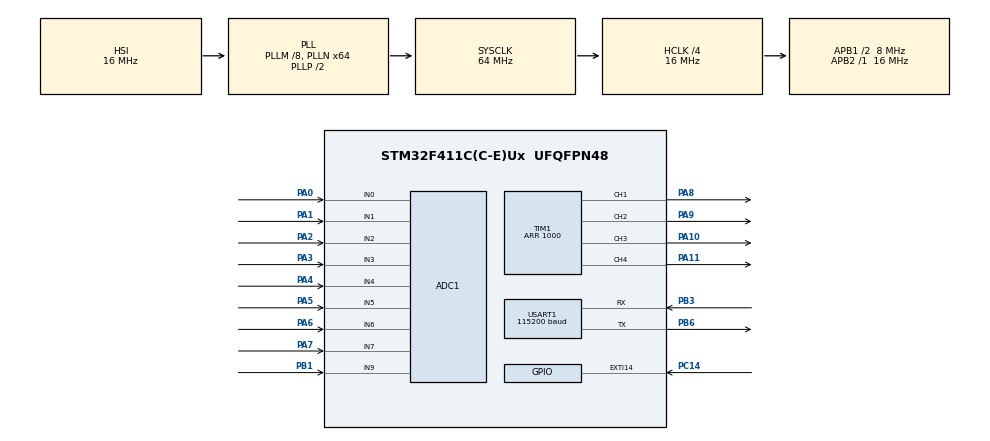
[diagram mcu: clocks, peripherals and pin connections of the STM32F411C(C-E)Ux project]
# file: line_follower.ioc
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ADC1.Channel-0\#ChannelRegularConversion=ADC_CHANNEL_0
ADC1.Channel-1\#ChannelRegularConversion=ADC_CHANNEL_1
ADC1.Channel-2\#ChannelRegularConversion=ADC_CHANNEL_2
ADC1.Channel-3\#ChannelRegularConversion=ADC_CHANNEL_3
ADC1.Channel-4\#ChannelRegularConversion=ADC_CHANNEL_4
ADC1.Channel-5\#ChannelRegularConversion=ADC_CHANNEL_5
ADC1.Channel-6\#ChannelRegularConversion=ADC_CHANNEL_6
ADC1.Channel-7\#ChannelRegularConversion=ADC_CHANNEL_7
ADC1.Channel-8\#ChannelRegularConversion=ADC_CHANNEL_9
ADC1.ContinuousConvMode=ENABLE
ADC1.DMAContinuousRequests=ENABLE
ADC1.NbrOfConversion=9
ADC1.NbrOfConversionFlag=1
ADC1.Rank-0\#ChannelRegularConversion=1
ADC1.Rank-1\#ChannelRegularConversion=2
ADC1.Rank-2\#ChannelRegularConversion=3
ADC1.Rank-3\#ChannelRegularConversion=4
ADC1.Rank-4\#ChannelRegularConversion=5
ADC1.Rank-5\#ChannelRegularConversion=6
ADC1.Rank-6\#ChannelRegularConversion=7
ADC1.Rank-7\#ChannelRegularConversion=8
ADC1.Rank-8\#ChannelRegularConversion=9
ADC1.SamplingTime-0\#ChannelRegularConversion=ADC_SAMPLETIME_144CYCLES
ADC1.SamplingTime-1\#ChannelRegularConversion=ADC_SAMPLETIME_144CYCLES
ADC1.SamplingTime-2\#ChannelRegularConversion=ADC_SAMPLETIME_144CYCLES
ADC1.SamplingTime-3\#ChannelRegularConversion=ADC_SAMPLETIME_144CYCLES
ADC1.SamplingTime-4\#ChannelRegularConversion=ADC_SAMPLETIME_144CYCLES
ADC1.SamplingTime-5\#ChannelRegularConversion=ADC_SAMPLETIME_144CYCLES
ADC1.SamplingTime-6\#ChannelRegularConversion=ADC_SAMPLETIME_144CYCLES
ADC1.SamplingTime-7\#ChannelRegularConversion=ADC_SAMPLETIME_144CYCLES
ADC1.SamplingTime-8\#ChannelRegularConversion=ADC_SAMPLETIME_144CYCLES
ADC1.ScanConvMode=ENABLE
ADC1.master=1
Dma.ADC1.0.Direction=DMA_PERIPH_TO_MEMORY
Dma.ADC1.0.FIFOMode=DMA_FIFOMODE_DISABLE
Dma.ADC1.0.Instance=DMA2_Stream0
Dma.ADC1.0.MemDataAlignment=DMA_MDATAALIGN_HALFWORD
Dma.ADC1.0.MemInc=DMA_MINC_ENABLE
Dma.ADC1.0.Mode=DMA_CIRCULAR
Dma.ADC1.0.PeriphDataAlignment=DMA_PDATAALIGN_HALFWORD
Dma.ADC1.0.PeriphInc=DMA_PINC_DISABLE
Dma.ADC1.0.Priority=DMA_PRIORITY_LOW
Dma.Request0=ADC1
Mcu.Family=STM32F4
Mcu.Name=STM32F411C(C-E)Ux
Mcu.Package=UFQFPN48
NVIC.DMA2_Stream0_IRQn=true\:0\:0\:false\:false\:true\:false\:true\:true
NVIC.EXTI15_10_IRQn=true\:0\:0\:false\:false\:true\:true\:true\:true
NVIC.PriorityGroup=NVIC_PRIORITYGROUP_4
NVIC.USART1_IRQn=true\:0\:0\:false\:false\:true\:true\:true\:true
PA0-WKUP.Signal=ADCx_IN0
PA1.Signal=ADCx_IN1
PA10.Signal=S_TIM1_CH3
PA11.Signal=S_TIM1_CH4
PA2.Signal=ADCx_IN2
PA3.Signal=ADCx_IN3
PA4.Signal=ADCx_IN4
PA5.Signal=ADCx_IN5
PA6.Signal=ADCx_IN6
PA7.Signal=ADCx_IN7
PA8.Signal=S_TIM1_CH1
PA9.Signal=S_TIM1_CH2
PB1.Signal=ADCx_IN9
PB3.Mode=Asynchronous
PB3.Signal=USART1_RX
PB6.Mode=Asynchronous
PB6.Signal=USART1_TX
PC14-OSC32_IN.GPIO_ModeDefaultEXTI=GPIO_MODE_IT_FALLING
PC14-OSC32_IN.GPIO_PuPd=GPIO_PULLUP
PC14-OSC32_IN.Signal=GPXTI14
ProjectManager.HeapSize=0x200
ProjectManager.StackSize=0x400
ProjectManager.TargetToolchain=STM32CubeIDE
RCC.48MHZClocksFreq_Value=32000000
RCC.AHBCLKDivider=RCC_SYSCLK_DIV4
RCC.AHBFreq_Value=16000000
RCC.APB1CLKDivider=RCC_HCLK_DIV2
RCC.APB1Freq_Value=8000000
RCC.APB1TimFreq_Value=16000000
RCC.APB2Freq_Value=16000000
RCC.APB2TimFreq_Value=16000000
RCC.CortexFreq_Value=16000000
RCC.HCLKFreq_Value=16000000
RCC.HSE_VALUE=25000000
RCC.HSI_VALUE=16000000
RCC.LSE_VALUE=32768
RCC.PLLM=8
RCC.PLLN=64
RCC.SYSCLKFreq_VALUE=64000000
RCC.SYSCLKSource=RCC_SYSCLKSOURCE_PLLCLK
RCC.VCOOutputFreq_Value=128000000
SH.ADCx_IN0.0=ADC1_IN0,IN0
SH.ADCx_IN1.0=ADC1_IN1,IN1
SH.ADCx_IN2.0=ADC1_IN2,IN2
SH.ADCx_IN3.0=ADC1_IN3,IN3
SH.ADCx_IN4.0=ADC1_IN4,IN4
SH.ADCx_IN5.0=ADC1_IN5,IN5
SH.ADCx_IN6.0=ADC1_IN6,IN6
SH.ADCx_IN7.0=ADC1_IN7,IN7
SH.ADCx_IN9.0=ADC1_IN9,IN9
SH.S_TIM1_CH1.0=TIM1_CH1,PWM Generation1 CH1
SH.S_TIM1_CH2.0=TIM1_CH2,PWM Generation2 CH2
SH.S_TIM1_CH3.0=TIM1_CH3,PWM Generation3 CH3
SH.S_TIM1_CH4.0=TIM1_CH4,PWM Generation4 CH4
TIM1.Channel-PWM\ Generation1\ CH1=TIM_CHANNEL_1
TIM1.Channel-PWM\ Generation2\ CH2=TIM_CHANNEL_2
TIM1.Channel-PWM\ Generation3\ CH3=TIM_CHANNEL_3
TIM1.Channel-PWM\ Generation4\ CH4=TIM_CHANNEL_4
TIM1.OCMode_PWM-PWM\ Generation2\ CH2=TIM_OCMODE_PWM2
TIM1.OCMode_PWM-PWM\ Generation3\ CH3=TIM_OCMODE_PWM2
TIM1.OCMode_PWM-PWM\ Generation4\ CH4=TIM_OCMODE_PWM1
TIM1.Period=1000
USART1.BaudRate=115200
USART1.VirtualMode=VM_ASYNC
VP_ADC1_Vbat_Input.Mode=IN-Vbat
board=custom

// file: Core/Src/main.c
/* USER CODE BEGIN Header */
/**
 ******************************************************************************
 * @file           : main.c
 * @brief          : Main program body
 ******************************************************************************
 * @attention
 *
 * Copyright (c) 2026 STMicroelectronics.
 * All rights reserved.
 *
 * This software is licensed under terms that can be found in the LICENSE file
 * in the root directory of this software component.
 * If no LICENSE file comes with this software, it is provided AS-IS.
 *
 ******************************************************************************
 */
/* USER CODE END Header */
#include "main.h"

/* USER CODE BEGIN Includes */

#include "sensor_module.h"
#include "utils.h"
#include "bluetooth.h"
#include "motor.h"
#include <stdio.h>
#include <string.h>
#include "stdlib.h"

/* USER CODE END Includes */

ADC_HandleTypeDef hadc1;
DMA_HandleTypeDef hdma_adc1;

TIM_HandleTypeDef htim1;

UART_HandleTypeDef huart1;

/* USER CODE BEGIN PV */

Sensor sensors[NUM_SENSORS];
Sensor_Array sensor_array;
PID_Controller pid;

/* USER CODE END PV */

void SystemClock_Config(void);
static void MX_GPIO_Init(void);
static void MX_DMA_Init(void);
static void MX_ADC1_Init(void);
static void MX_TIM1_Init(void);
static void MX_USART1_UART_Init(void);

/* USER CODE BEGIN 0 */

int sensor_weights[NUM_SENSORS] = { 0, -3, -2, -1,1, 2, 3, 0 };

volatile int line;
volatile int line2;
volatile int correction;
volatile int left_speed;
volatile int right_speed;
int left;
int right;
int start = 0;
volatile float dt ;

uint8_t rx_data;
char rx_buffer[30];
int rx_index = 0;
float b ;
JunctionType j;

volatile uint8_t junction_handling_enabled = 1;

#define CURVE_ENTRY_THRESHOLD  600.0f
#define CURVE_EXIT_THRESHOLD   300.0f
#define CURVE_KP_SCALE          1.5f
#define CURVE_KD_SCALE          1.8f
#define CURVE_SPEED_SCALE       0.60f
#define SystemCoreClock 16000000.0f

static uint8_t in_curve = 0;
static uint8_t junction_confirm_count = 0;
static JunctionType junction_candidate = NO_JUNCTION;
#define JUNCTION_CONFIRM_THRESHOLD 3

void HAL_GPIO_EXTI_Callback(uint16_t GPIO_Pin)
{

    if (GPIO_Pin == GPIO_PIN_14)
    {
    	if(start == 1){
    		start = 0;
    	}
    	else if (start == 0){
    	start = 1;
    	}

    }
}

void HAL_UART_RxCpltCallback(UART_HandleTypeDef *huart) {
	if (huart->Instance == USART1) {
		if (rx_data == '\n' || rx_data == '\r') {

			rx_buffer[rx_index] = '\0';
			rx_index = 0;

			char *cmd = rx_buffer;

			if (strncmp(cmd, "PID:", 4) == 0) {
				float p, i, d;
				if (sscanf(cmd + 4, "%f,%f,%f", &p, &i, &d) == 3) {
					pid.Kp = p;
					pid.Ki = i;
					pid.Kd = d;
					pid.integral = 0;
					pid.last_error = 0;
					pid.d_filtered = 0;
				}
			}

			else if (strncmp(cmd, "PARAM:", 6) == 0) {
			    char *bs = strstr(cmd, "BS");
			    char *pl = strstr(cmd, "PL");
			    char *jh = strstr(cmd, "JH");
			    if (bs) sensor_array.base_speed = atoi(bs + 2);
			    if (pl) pid.limit = atoi(pl + 2);
			    if (jh) junction_handling_enabled = atoi(jh + 2);
			}

			else if (strcmp(cmd, "START") == 0) {
				start = 1;
				in_curve = 0;        // always start fresh in straight mode
				pid.integral = 0;
				pid.last_error = 0;
				pid.d_filtered = 0;

			} else if (strcmp(cmd, "STOP") == 0) {
				start = 0;
				in_curve = 0;        // clear so next start is clean
				pid.integral = 0;
			}

			else if (strlen(cmd) > 1) {
				char type = cmd[0];
				float val = atof(&cmd[1]);
				if (type == 'P')
					pid.Kp = val;
				else if (type == 'I')
					pid.Ki = val;
				else if (type == 'D')
					pid.Kd = val;
				else if (type == 'B')
					sensor_array.base_speed = (int) val;
				else if (type == 'X')
					start = 0;
				else if (type == 'O')
					start = 1;
			}

		} else {
			if (rx_index < sizeof(rx_buffer) - 1){
			rx_buffer[rx_index++] = rx_data;}
		}

		HAL_UART_Receive_IT(&huart1, &rx_data, 1);
	}
}

void Send_Telemetry() {
    static char buf[160];
    char ir_part[80] = "IR:";
    char tmp[8];

    for (int i = 0; i < sensor_array.number_of_sensors; i++) {
        snprintf(tmp, sizeof(tmp), "%u", (uint16_t)sensor_array.array[i].adc_raw);
        strcat(ir_part, tmp);
        if (i < sensor_array.number_of_sensors - 1) strcat(ir_part, ",");
    }

    snprintf(buf, sizeof(buf),
        "%s;PL:%d;PR:%d;BV:%.1f;PE:%.1f;PO:%.1f;JC:%d\n",
        ir_part,
        (int)(sensor_array.base_speed + correction),
        (int)(sensor_array.base_speed - correction),
        b, (float)line, (float)correction
    );

    HAL_UART_Transmit_IT(&huart1, (uint8_t*)buf, strlen(buf));
}

/* USER CODE BEGIN 4 */
float get_line_error_continuous(Sensor_Array *array) {
    float sum_weighted = 0.0f;
    float sum_values   = 0.0f;
    static float last_valid_error = 0.0f;

    // Use ONLY 1 through 6. Ignore 0 and 7.
    for (int i = 1; i < 7; i++) {
        // Use mapped_value to ignore track lighting changes (1000=black)
        float val = (float)array->array[i].mapped_value;

        // Only count sensors seeing the line
        if (val > 200.0f) {
            sum_weighted += (float)array->weights[i] * val;
            sum_values   += val;
        }
    }

    if (sum_values == 0.0f) {
        return last_valid_error; // If line drops, keep turning the same way
    }

    last_valid_error = (sum_weighted / sum_values) * 500.0f;

    // DELETED the 50.0f deadband. Let the PID correct small errors!
    return last_valid_error;
}
/* USER CODE END 4 */

/* USER CODE END 0 */

int main(void)
{

  /* MCU Configuration--------------------------------------------------------*/

  /* Reset of all peripherals, Initializes the Flash interface and the Systick. */
  HAL_Init();

  /* Configure the system clock */
  SystemClock_Config();

  /* Initialize all configured peripherals */
  MX_GPIO_Init();
  MX_DMA_Init();
  MX_ADC1_Init();
  MX_TIM1_Init();
  MX_USART1_UART_Init();
  /* USER CODE BEGIN 2 */

	HAL_TIM_PWM_Start(&htim1, TIM_CHANNEL_1);
	HAL_TIM_PWM_Start(&htim1, TIM_CHANNEL_2);
	HAL_TIM_PWM_Start(&htim1, TIM_CHANNEL_3);
	HAL_TIM_PWM_Start(&htim1, TIM_CHANNEL_4);

	HAL_ADC_Start_DMA(&hadc1, (uint32_t*) dma_buffer, NUM_SENSORS + 1);

	HAL_UART_Receive_IT(&huart1, &rx_data, 1);

	sensor_array.number_of_sensors = NUM_SENSORS;
	sensor_array.array = sensors;
	sensor_array.weights = sensor_weights;
	sensor_array.base_speed = 500;

	Initialize_Sensor_Array(&sensor_array);

	pid.Kd = 5;
	pid.Ki = 0;
	pid.Kp = 10;
	pid.integral = 0;
	pid.last_error = 0;
	pid.limit = 300;
	pid.d_filtered = 0;
	pid.d_alpha = 0.85f;

	CoreDebug->DEMCR |= CoreDebug_DEMCR_TRCENA_Msk;
	DWT->CTRL |= DWT_CTRL_CYCCNTENA_Msk;

	uint32_t last_time = DWT->CYCCNT;
	static uint32_t last_telem = 0;

  /* USER CODE END 2 */

  /* Infinite loop */
  /* USER CODE BEGIN WHILE */
	while (1) {

		b = battery_voltage(dma_buffer);

		Sync_Sensors(&sensor_array);

		uint32_t current_time = DWT->CYCCNT;
		uint32_t time_diff = current_time - last_time;

		if (time_diff == 0) {
			continue;
		}
		else{

		dt = (float)time_diff / (float)SystemCoreClock;
		last_time = current_time;}

		processSensors(&sensor_array);
		binarizeSensors(&sensor_array);

		if ((HAL_GetTick() - last_telem) >= TELEM_INTERVAL_MS) {
		    last_telem = HAL_GetTick();
		    Send_Telemetry();
		}

		if (start == 1) {
						j = NO_JUNCTION;
						if (junction_handling_enabled) {
							j = detect_junction_digital(&sensor_array);
						}
					    if (j != NO_JUNCTION) {
					    	if (j == junction_candidate) {
					    	        junction_confirm_count++;
					    	}else {
					    	        junction_candidate = j;
					    	        junction_confirm_count = 1;
					    	}

					    	if (junction_confirm_count >= JUNCTION_CONFIRM_THRESHOLD) {
					    	            handle_junction(&sensor_array, junction_candidate, 900);
					    	            pid.integral   = 0;
					    	            pid.last_error = 0;
					    	            pid.d_filtered = 0;
					    	            junction_confirm_count = 0;
					    	            junction_candidate = NO_JUNCTION;
					    	        } else {
					    	            // Keep following the line normally while we wait for confirmation!
					    	            line = (int)get_line_error_continuous(&sensor_array);
					    	            correction = calculate_pid(&pid, line, dt);
					    	            follow_line(correction, &sensor_array);
					    	        }
					    }
					    else {
								junction_confirm = 0;
								junction_candidate = NO_JUNCTION;
								float error_f = get_line_error_continuous(&sensor_array);
								line = (int)error_f;
								correction = calculate_pid(&pid, line, dt);
								follow_line(correction, &sensor_array);
					    }

		}
		else {
		    set_motor_speed(0, 0, b);
		}

    /* USER CODE END WHILE */

}

void SystemClock_Config(void)
{
  RCC_OscInitTypeDef RCC_OscInitStruct = {0};
  RCC_ClkInitTypeDef RCC_ClkInitStruct = {0};

  /** Configure the main internal regulator output voltage
  */
  __HAL_RCC_PWR_CLK_ENABLE();
  __HAL_PWR_VOLTAGESCALING_CONFIG(PWR_REGULATOR_VOLTAGE_SCALE1);

  /** Initializes the RCC Oscillators according to the specified parameters
  * in the RCC_OscInitTypeDef structure.
  */
  RCC_OscInitStruct.OscillatorType = RCC_OSCILLATORTYPE_HSI;
  RCC_OscInitStruct.HSIState = RCC_HSI_ON;
  RCC_OscInitStruct.HSICalibrationValue = RCC_HSICALIBRATION_DEFAULT;
  RCC_OscInitStruct.PLL.PLLState = RCC_PLL_ON;
  RCC_OscInitStruct.PLL.PLLSource = RCC_PLLSOURCE_HSI;
  RCC_OscInitStruct.PLL.PLLM = 8;
  RCC_OscInitStruct.PLL.PLLN = 64;
  RCC_OscInitStruct.PLL.PLLP = RCC_PLLP_DIV2;
  RCC_OscInitStruct.PLL.PLLQ = 4;
  if (HAL_RCC_OscConfig(&RCC_OscInitStruct) != HAL_OK)
  {
    Error_Handler();
  }

  /** Initializes the CPU, AHB and APB buses clocks
  */
  RCC_ClkInitStruct.ClockType = RCC_CLOCKTYPE_HCLK|RCC_CLOCKTYPE_SYSCLK
                              |RCC_CLOCKTYPE_PCLK1|RCC_CLOCKTYPE_PCLK2;
  RCC_ClkInitStruct.SYSCLKSource = RCC_SYSCLKSOURCE_PLLCLK;
  RCC_ClkInitStruct.AHBCLKDivider = RCC_SYSCLK_DIV4;
  RCC_ClkInitStruct.APB1CLKDivider = RCC_HCLK_DIV2;
  RCC_ClkInitStruct.APB2CLKDivider = RCC_HCLK_DIV1;

  if (HAL_RCC_ClockConfig(&RCC_ClkInitStruct, FLASH_LATENCY_0) != HAL_OK)
  {
    Error_Handler();
  }
}

static void MX_ADC1_Init(void)
{

  ADC_ChannelConfTypeDef sConfig = {0};

  /** Configure the global features of the ADC (Clock, Resolution, Data Alignment and number of conversion)
  */
  hadc1.Instance = ADC1;
  hadc1.Init.ClockPrescaler = ADC_CLOCK_SYNC_PCLK_DIV2;
  hadc1.Init.Resolution = ADC_RESOLUTION_12B;
  hadc1.Init.ScanConvMode = ENABLE;
  hadc1.Init.ContinuousConvMode = ENABLE;
  hadc1.Init.DiscontinuousConvMode = DISABLE;
  hadc1.Init.ExternalTrigConvEdge = ADC_EXTERNALTRIGCONVEDGE_NONE;
  hadc1.Init.ExternalTrigConv = ADC_SOFTWARE_START;
  hadc1.Init.DataAlign = ADC_DATAALIGN_RIGHT;
  hadc1.Init.NbrOfConversion = 9;
  hadc1.Init.DMAContinuousRequests = ENABLE;
  hadc1.Init.EOCSelection = ADC_EOC_SINGLE_CONV;
  if (HAL_ADC_Init(&hadc1) != HAL_OK)
  {
    Error_Handler();
  }

  /** Configure for the selected ADC regular channel its corresponding rank in the sequencer and its sample time.
  */
  sConfig.Channel = ADC_CHANNEL_0;
  sConfig.Rank = 1;
  sConfig.SamplingTime = ADC_SAMPLETIME_144CYCLES;
  if (HAL_ADC_ConfigChannel(&hadc1, &sConfig) != HAL_OK)
  {
    Error_Handler();
  }

  /** Configure for the selected ADC regular channel its corresponding rank in the sequencer and its sample time.
  */
  sConfig.Channel = ADC_CHANNEL_1;
  sConfig.Rank = 2;
  if (HAL_ADC_ConfigChannel(&hadc1, &sConfig) != HAL_OK)
  {
    Error_Handler();
  }

  /** Configure for the selected ADC regular channel its corresponding rank in the sequencer and its sample time.
  */
  sConfig.Channel = ADC_CHANNEL_2;
  sConfig.Rank = 3;
  if (HAL_ADC_ConfigChannel(&hadc1, &sConfig) != HAL_OK)
  {
    Error_Handler();
  }

  /** Configure for the selected ADC regular channel its corresponding rank in the sequencer and its sample time.
  */
  sConfig.Channel = ADC_CHANNEL_3;
  sConfig.Rank = 4;
  if (HAL_ADC_ConfigChannel(&hadc1, &sConfig) != HAL_OK)
  {
    Error_Handler();
  }

  /** Configure for the selected ADC regular channel its corresponding rank in the sequencer and its sample time.
  */
  sConfig.Channel = ADC_CHANNEL_4;
  sConfig.Rank = 5;
  if (HAL_ADC_ConfigChannel(&hadc1, &sConfig) != HAL_OK)
  {
    Error_Handler();
  }

  /** Configure for the selected ADC regular channel its corresponding rank in the sequencer and its sample time.
  */
  sConfig.Channel = ADC_CHANNEL_5;
  sConfig.Rank = 6;
  if (HAL_ADC_ConfigChannel(&hadc1, &sConfig) != HAL_OK)
  {
    Error_Handler();
  }

  /** Configure for the selected ADC regular channel its corresponding rank in the sequencer and its sample time.
  */
  sConfig.Channel = ADC_CHANNEL_6;
  sConfig.Rank = 7;
  if (HAL_ADC_ConfigChannel(&hadc1, &sConfig) != HAL_OK)
  {
    Error_Handler();
  }

  /** Configure for the selected ADC regular channel its corresponding rank in the sequencer and its sample time.
  */
  sConfig.Channel = ADC_CHANNEL_7;
  sConfig.Rank = 8;
  if (HAL_ADC_ConfigChannel(&hadc1, &sConfig) != HAL_OK)
  {
    Error_Handler();
  }

  /** Configure for the selected ADC regular channel its corresponding rank in the sequencer and its sample time.
  */
  sConfig.Channel = ADC_CHANNEL_9;
  sConfig.Rank = 9;
  if (HAL_ADC_ConfigChannel(&hadc1, &sConfig) != HAL_OK)
  {
    Error_Handler();
  }

}

static void MX_TIM1_Init(void)
{

  TIM_MasterConfigTypeDef sMasterConfig = {0};
  TIM_OC_InitTypeDef sConfigOC = {0};
  TIM_BreakDeadTimeConfigTypeDef sBreakDeadTimeConfig = {0};

  htim1.Instance = TIM1;
  htim1.Init.Prescaler = 0;
  htim1.Init.CounterMode = TIM_COUNTERMODE_UP;
  htim1.Init.Period = 1000;
  htim1.Init.ClockDivision = TIM_CLOCKDIVISION_DIV1;
  htim1.Init.RepetitionCounter = 0;
  htim1.Init.AutoReloadPreload = TIM_AUTORELOAD_PRELOAD_DISABLE;
  if (HAL_TIM_PWM_Init(&htim1) != HAL_OK)
  {
    Error_Handler();
  }
  sMasterConfig.MasterOutputTrigger = TIM_TRGO_RESET;
  sMasterConfig.MasterSlaveMode = TIM_MASTERSLAVEMODE_DISABLE;
  if (HAL_TIMEx_MasterConfigSynchronization(&htim1, &sMasterConfig) != HAL_OK)
  {
    Error_Handler();
  }
  sConfigOC.OCMode = TIM_OCMODE_PWM1;
  sConfigOC.Pulse = 0;
  sConfigOC.OCPolarity = TIM_OCPOLARITY_HIGH;
  sConfigOC.OCNPolarity = TIM_OCNPOLARITY_HIGH;
  sConfigOC.OCFastMode = TIM_OCFAST_DISABLE;
  sConfigOC.OCIdleState = TIM_OCIDLESTATE_RESET;
  sConfigOC.OCNIdleState = TIM_OCNIDLESTATE_RESET;
  if (HAL_TIM_PWM_ConfigChannel(&htim1, &sConfigOC, TIM_CHANNEL_1) != HAL_OK)
  {
    Error_Handler();
  }
  sConfigOC.OCMode = TIM_OCMODE_PWM2;
  if (HAL_TIM_PWM_ConfigChannel(&htim1, &sConfigOC, TIM_CHANNEL_2) != HAL_OK)
  {
    Error_Handler();
  }
  if (HAL_TIM_PWM_ConfigChannel(&htim1, &sConfigOC, TIM_CHANNEL_3) != HAL_OK)
  {
    Error_Handler();
  }
  sConfigOC.OCMode = TIM_OCMODE_PWM1;
  if (HAL_TIM_PWM_ConfigChannel(&htim1, &sConfigOC, TIM_CHANNEL_4) != HAL_OK)
  {
    Error_Handler();
  }
  sBreakDeadTimeConfig.OffStateRunMode = TIM_OSSR_DISABLE;
  sBreakDeadTimeConfig.OffStateIDLEMode = TIM_OSSI_DISABLE;
  sBreakDeadTimeConfig.LockLevel = TIM_LOCKLEVEL_OFF;
  sBreakDeadTimeConfig.DeadTime = 0;
  sBreakDeadTimeConfig.BreakState = TIM_BREAK_DISABLE;
  sBreakDeadTimeConfig.BreakPolarity = TIM_BREAKPOLARITY_HIGH;
  sBreakDeadTimeConfig.AutomaticOutput = TIM_AUTOMATICOUTPUT_DISABLE;
  if (HAL_TIMEx_ConfigBreakDeadTime(&htim1, &sBreakDeadTimeConfig) != HAL_OK)
  {
    Error_Handler();
  }
  HAL_TIM_MspPostInit(&htim1);

}

static void MX_USART1_UART_Init(void)
{

  huart1.Instance = USART1;
  huart1.Init.BaudRate = 115200;
  huart1.Init.WordLength = UART_WORDLENGTH_8B;
  huart1.Init.StopBits = UART_STOPBITS_1;
  huart1.Init.Parity = UART_PARITY_NONE;
  huart1.Init.Mode = UART_MODE_TX_RX;
  huart1.Init.HwFlowCtl = UART_HWCONTROL_NONE;
  huart1.Init.OverSampling = UART_OVERSAMPLING_16;
  if (HAL_UART_Init(&huart1) != HAL_OK)
  {
    Error_Handler();
  }

}

static void MX_DMA_Init(void)
{

  /* DMA controller clock enable */
  __HAL_RCC_DMA2_CLK_ENABLE();

  /* DMA interrupt init */
  /* DMA2_Stream0_IRQn interrupt configuration */
  HAL_NVIC_SetPriority(DMA2_Stream0_IRQn, 0, 0);
  HAL_NVIC_EnableIRQ(DMA2_Stream0_IRQn);

}

static void MX_GPIO_Init(void)
{
  GPIO_InitTypeDef GPIO_InitStruct = {0};

  /* GPIO Ports Clock Enable */
  __HAL_RCC_GPIOC_CLK_ENABLE();
  __HAL_RCC_GPIOA_CLK_ENABLE();
  __HAL_RCC_GPIOB_CLK_ENABLE();

  /*Configure GPIO pin : PC14 */
  GPIO_InitStruct.Pin = GPIO_PIN_14;
  GPIO_InitStruct.Mode = GPIO_MODE_IT_FALLING;
  GPIO_InitStruct.Pull = GPIO_PULLUP;
  HAL_GPIO_Init(GPIOC, &GPIO_InitStruct);

  /* EXTI interrupt init*/
  HAL_NVIC_SetPriority(EXTI15_10_IRQn, 0, 0);
  HAL_NVIC_EnableIRQ(EXTI15_10_IRQn);

}

void Error_Handler(void)
{
	__disable_irq();
	while (1) {
	}
}
